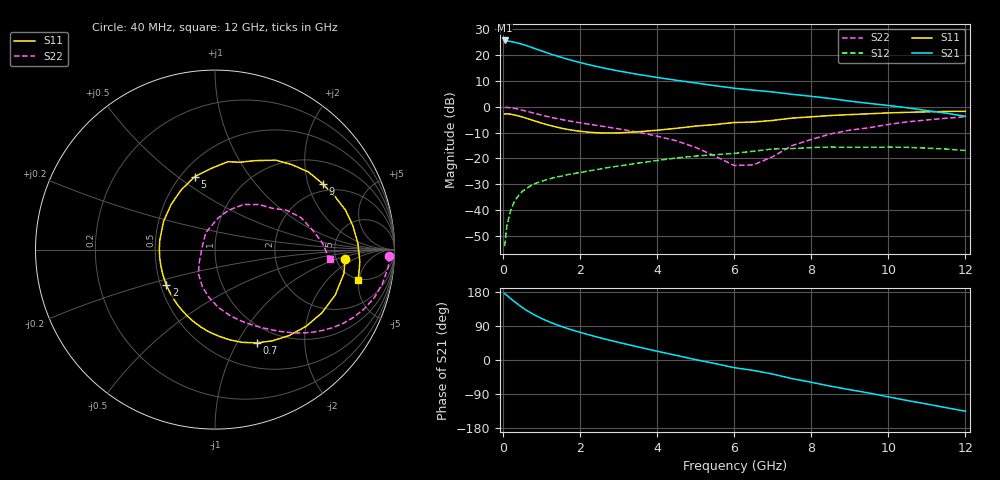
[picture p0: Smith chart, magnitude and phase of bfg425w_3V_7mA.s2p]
! Filename: 37bfg425.001
! BFG425W Field C1
! V1=8.328E-001V,V2=3.000E+000V, I1=8.713E-005A, I2=7.010E-003A
# GHz  S  MA  R 50
!  S11  S21  S12  S22
!Freq(GHz)  Mag  Ang  Mag  Ang  Mag  Ang  Mag  Ang
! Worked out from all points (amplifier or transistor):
!   44 points, 40 MHz to 12 GHz, reference 50 ohm
!   highest |S21| = 25.7 dB at 40 MHz (marker M1)
!   |S21| within 3 dB of that: start of sweep to 798.5 MHz
!   unconditionally stable (mu >= 1): 2.178 GHz to end of sweep
!   at 700 MHz: K = 0.42, MSG = 27.0 dB, |S12| = -30.8 dB
!   at 2.4 GHz: K = 1.06, MAG = 18.6 dB, |S12| = -24.4 dB
!   at 12 GHz: K = 1.44, MAG = 2.7 dB, |S12| = -17.0 dB
!   S11 on the Smith chart (normalised r, x): 40 MHz: 5.97, -1.32; 700 MHz: 0.79, -1.21; 2 GHz: 0.54, -0.24; 5 GHz: 0.59, +0.58; 9 GHz: 1.72, +2.50; 12 GHz: 4.80, -4.88
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0.04  0.725 -4.2  19.19 175.4  0.002 68.2  0.972 -2.2
0.2  0.716 -20.7  18.31 161.8  0.01 76.7  0.952 -11.5
0.3  0.692 -30.7  17.69 153.8  0.015 72.5  0.927 -16.8
0.4  0.663 -40.2  16.97 145.9  0.019 67.6  0.894 -21.7
0.5  0.632 -49.4  16.18 138.4  0.023 63.6  0.858 -26.2
0.6  0.6 -57.9  15.27 131.7  0.026 60.2  0.822 -30.2
0.7  0.569 -66.0  14.4 125.7  0.029 56.9  0.785 -33.7
0.8  0.538 -73.8  13.57 119.8  0.032 54.3  0.75 -36.9
1  0.482 -87.7  12.04 109.5  0.036 50.0  0.688 -42.3
1.3  0.419 -106.4  10.12 96.6  0.042 45.4  0.61 -49.0
1.6  0.373 -123.6  8.643 85.6  0.047 42.4  0.551 -54.4
2  0.335 -144.2  7.166 73.0  0.053 39.2  0.489 -61.1
2.2  0.323 -153.9  6.587 67.2  0.057 37.7  0.463 -64.4
3  0.312 170.4  4.926 46.5  0.071 31.3  0.373 -77.7
3.5  0.327 151.1  4.232 34.6  0.081 26.4  0.322 -86.8
4.5  0.383 119.3  3.254 12.1  0.102 14.4  0.219 -108.6
5  0.422 105.5  2.887 0.9  0.111 6.8  0.163 -124.7
6.5  0.506 74.1  2.093 -27.6  0.138 -9.8  0.075 153.3
8.5  0.677 39.7  1.441 -69.1  0.166 -46.1  0.298 57.6
9  0.704 31.3  1.286 -78.4  0.164 -54.4  0.352 45.4
10.5  0.78 9.7  0.953 -107.0  0.164 -81.5  0.511 20.5
12  0.816 -12.0  0.653 -135.1  0.142 -112.1  0.641 -4.9
